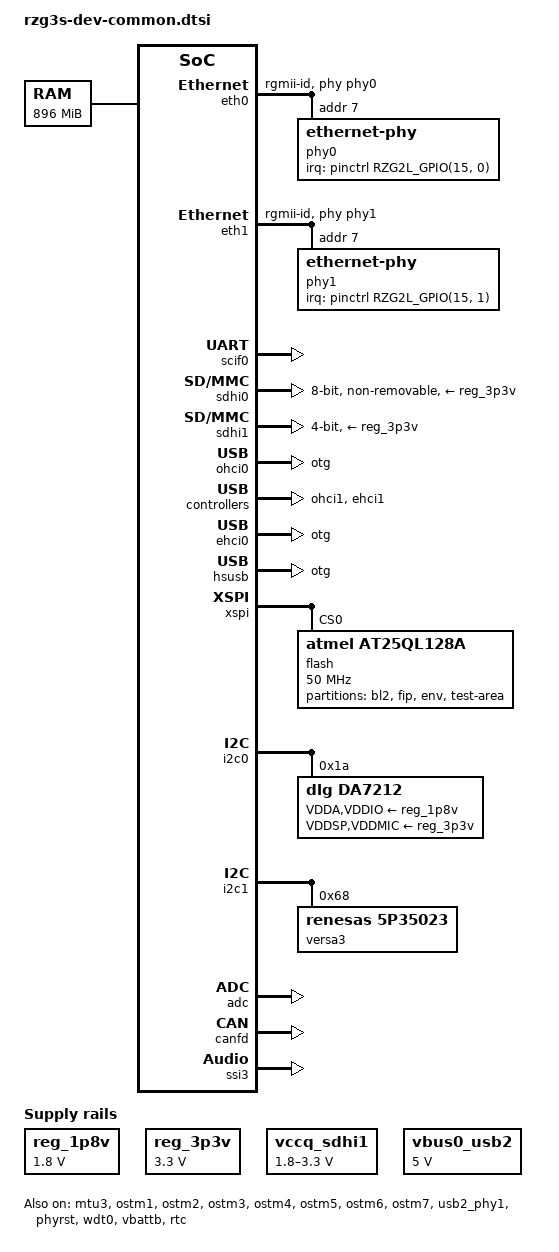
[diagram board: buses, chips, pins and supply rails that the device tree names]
// SPDX-License-Identifier: (GPL-2.0-only OR BSD-2-Clause)
/*
 * Common Devicetree reference for RZ/G3S Development board.
 *
 * Copyright (C) 2023 Renesas Electronics Corp.
 */

#include <dt-bindings/gpio/gpio.h>
#include <dt-bindings/pinctrl/rzg2l-pinctrl.h>

/*
 * SSI-DA7212
 *
 * These commands are required when Playback/Capture
 *
 *	amixer -q cset name='Aux Switch' on
 *	amixer -q cset name='Mixin Left Aux Left Switch' on
 *	amixer -q cset name='Mixin Right Aux Right Switch' on
 *	amixer -q cset name='ADC Switch' on
 *	amixer -q cset name='Mixout Right Mixin Right Switch' off
 *	amixer -q cset name='Mixout Left Mixin Left Switch' off
 *	amixer -q cset name='Headphone Volume' 70%
 *	amixer -q cset name='Headphone Switch' on
 *	amixer -q cset name='Mixout Left DAC Left Switch' on
 *	amixer -q cset name='Mixout Right DAC Right Switch' on
 *	amixer -q cset name='DAC Left Source MUX' 'DAI Input Left'
 *	amixer -q cset name='DAC Right Source MUX' 'DAI Input Right'
 *	amixer -q sset 'Mic 1 Amp Source MUX' 'MIC_P'
 *	amixer -q sset 'Mic 2 Amp Source MUX' 'MIC_P'
 *	amixer -q sset 'Mixin Left Mic 1' on
 *	amixer -q sset 'Mixin Right Mic 2' on
 *	amixer -q sset 'Mic 1' 90% on
 *	amixer -q sset 'Mic 2' 90% on
 *	amixer -q sset 'Lineout' 80% on
 *	amixer -q set "Headphone" 100% on
 */

/ {
	aliases {
		serial0 = &scif0;
		i2c0 = &i2c0;
		i2c1 = &i2c1;
		ethernet0 = &eth0;
		ethernet1 = &eth1;
		mmc0 = &sdhi0;
		mmc1 = &sdhi1;
	};

	memory@48000000 {
		device_type = "memory";
		reg = <0x0 0x48000000 0x0 0x38000000>;
	};

	chosen {
		bootargs = "ignore_loglevel";
		stdout-path = "serial0:115200n8";
	};

	reg_1p8v: regulator0 {
		compatible = "regulator-fixed";
		regulator-name = "fixed-1.8V";
		regulator-min-microvolt = <1800000>;
		regulator-max-microvolt = <1800000>;
		regulator-boot-on;
		regulator-always-on;
	};

	reg_3p3v: regulator1 {
		compatible = "regulator-fixed";
		regulator-name = "fixed-3.3V";
		regulator-min-microvolt = <3300000>;
		regulator-max-microvolt = <3300000>;
		regulator-boot-on;
		regulator-always-on;
	};

	vccq_sdhi1: regulator-vccq-sdhi1 {
		compatible = "regulator-gpio";
		regulator-name = "SDHI1 VccQ";

		regulator-min-microvolt = <1800000>;
		regulator-max-microvolt = <3300000>;

		gpios = <&pinctrl RZG2L_GPIO(13, 0) GPIO_ACTIVE_HIGH>;
		gpios-states = <1>;
		states = <3300000 1>, <1800000 0>;
	};

	vbus0_usb2: regulator-vbus0-usb2 {
		compatible = "regulator-fixed";

		regulator-name = "USB20_VBUS0";
		regulator-min-microvolt = <5000000>;
		regulator-max-microvolt = <5000000>;
	};

	x3_clk: x3-clock {
		compatible = "fixed-clock";
		#clock-cells = <0>;
		clock-frequency = <24000000>;
	};

	codec_test0: codec_test {
		compatible = "linux,snd-soc-dummy";
		#sound-dai-cells = <0>;
	};

	snd_rzg2l: sound {
		compatible = "simple-audio-card";
		simple-audio-card,name = "snd_rzg3s";

		ssi_link: simple-audio-card,dai-link@0 {
			format = "i2s";
			bitclock-master = <&cpu_dai0>;
			frame-master = <&cpu_dai0>;
			mclk-fs = <256>;

			cpu_dai0: cpu {
				sound-dai = <&ssi3>;
			};

			codec {
				sound-dai = <&da7212>;
				clocks = <&versa3 4>;
			};
		};

#if COMMON_PINS_SEL == SPDIF_PINS_SEL
		spdif_link: simple-audio-card,dai-link@1 {
			bitclock-master = <&cpu_dai1>;
			frame-master = <&cpu_dai1>;

			cpu_dai1: cpu {
				sound-dai = <&spdif>;
			};

			codec {
				sound-dai = <&codec_test0>;
			};
		};
#endif
	};
};

&audio_clk1 {
	clock-frequency = <11289600>;
};

&extal_clk {
	clock-frequency = <24000000>;
};

&eth0 {
	pinctrl-0 = <&eth0_pins>;
	pinctrl-names = "default";
	phy-handle = <&phy0>;
	phy-mode = "rgmii-id";
	status = "okay";

	phy0: ethernet-phy@7 {
		reg = <7>;
		rxc-skew-psec = <0>;
		txc-skew-psec = <0>;
		rxdv-skew-psec = <0>;
		txdv-skew-psec = <0>;
		rxd0-skew-psec = <0>;
		rxd1-skew-psec = <0>;
		rxd2-skew-psec = <0>;
		rxd3-skew-psec = <0>;
		txd0-skew-psec = <0>;
		txd1-skew-psec = <0>;
		txd2-skew-psec = <0>;
		txd3-skew-psec = <0>;

		interrupt-parent = <&pinctrl>;
		interrupts = <RZG2L_GPIO(15, 0) IRQ_TYPE_LEVEL_LOW>;
	};
};

&eth1 {
	pinctrl-0 = <&eth1_pins>;
	pinctrl-names = "default";
	phy-handle = <&phy1>;
	phy-mode = "rgmii-id";
	status = "okay";

	phy1: ethernet-phy@7 {
		reg = <7>;
		rxc-skew-psec = <0>;
		txc-skew-psec = <0>;
		rxdv-skew-psec = <0>;
		txdv-skew-psec = <0>;
		rxd0-skew-psec = <0>;
		rxd1-skew-psec = <0>;
		rxd2-skew-psec = <0>;
		rxd3-skew-psec = <0>;
		txd0-skew-psec = <0>;
		txd1-skew-psec = <0>;
		txd2-skew-psec = <0>;
		txd3-skew-psec = <0>;

		interrupt-parent = <&pinctrl>;
		interrupts = <RZG2L_GPIO(15, 1) IRQ_TYPE_LEVEL_LOW>;
	};
};

&scif0 {
	pinctrl-0 = <&scif0_pins>;
	pinctrl-names = "default";
	status = "okay";
};

&sdhi0 {
	pinctrl-0 = <&sdhi0_emmc_pins>;
	pinctrl-1 = <&sdhi0_emmc_pins>;
	pinctrl-names = "default", "state_uhs";

	vmmc-supply = <&reg_3p3v>;
	vqmmc-supply = <&reg_1p8v>;
	bus-width = <8>;
	mmc-hs200-1_8v;
	non-removable;
	fixed-emmc-driver-type = <1>;
	max-frequency = <125000000>;
	status = "okay";
};

&sdhi1 {
	pinctrl-0 = <&sdhi1_pins>;
	pinctrl-1 = <&sdhi1_pins_uhs>;
	pinctrl-names = "default", "state_uhs";

	vmmc-supply = <&reg_3p3v>;
	vqmmc-supply = <&vccq_sdhi1>;
	bus-width = <4>;

	sd-uhs-sdr50;
	sd-uhs-sdr104;
	max-frequency = <125000000>;
	status = "okay";
};

&mtu3 {
	status = "okay";
};

&ohci0 {
	dr_mode = "otg";
	status = "okay";
};

&ohci1 {
	status = "okay";
};

&ostm1 {
	status = "okay";
};

&ostm2 {
	status = "okay";
};

&ostm3 {
	status = "okay";
};

&ostm4 {
	status = "okay";
};

&ostm5 {
	status = "okay";
};

&ostm6 {
	status = "okay";
};

&ostm7 {
	status = "okay";
};

&ehci0 {
	dr_mode = "otg";
	status = "okay";
};

&ehci1 {
	status = "okay";
};

&hsusb {
	dr_mode = "otg";
	status = "okay";
};

&usb2_phy1 {
	pinctrl-0 = <&usb1_pins>;
	pinctrl-names = "default";

	status = "okay";
};

&phyrst {
	status = "okay";
};

&xspi {
	pinctrl-0 = <&xspi_pins>;
	pinctrl-names = "default";

	status = "okay";

	flash@0 {
		compatible = "atmel,at25ql128a", "jedec,spi-nor";
		reg = <0>;
		m25p,fast-read;
		spi-max-frequency = <50000000>;
		spi-tx-bus-width = <1>;
		spi-rx-bus-width = <1>;

		partitions {
			compatible = "fixed-partitions";
			#address-cells = <1>;
			#size-cells = <1>;

			partition@000000 {
				label = "bl2";
				reg = <0x00000000 0x0001D200>;
				read-only;
			};
			partition@01D200 {
				label = "fip";
				reg = <0x0001D200 0x001C2E00>;
				read-only;
			};
			partition@1E0000 {
				label = "env";
				reg = <0x001E0000 0x00020000>;
				read-only;
			};
			partition@200000 {
				label = "test-area";
				reg = <0x00200000 0x00E00000>;
			};
		};
	};
};

&wdt0 {
	status = "okay";
	timeout-sec = <60>;
};

&i2c0 {
	status = "okay";

	da7212: codec@1a {
		compatible = "dlg,da7212";

		#sound-dai-cells = <0>;
		#address-cells = <1>;
		#size-cells = <0>;

		reg = <0x1a>;

		clocks = <&versa3 4>;
		clock-names = "mclk";

		dlg,micbias1-lvl = <2500>;
		dlg,micbias2-lvl = <2500>;
		dlg,dmic-data-sel = "lrise_rfall";
		dlg,dmic-samplephase = "between_clkedge";
		dlg,dmic-clkrate = <3000000>;

		VDDA-supply = <&reg_1p8v>;
		VDDSP-supply = <&reg_3p3v>;
		VDDMIC-supply = <&reg_3p3v>;
		VDDIO-supply = <&reg_1p8v>;
	};
};

&i2c1 {
	status = "okay";

	versa3: versa3@68 {
		compatible = "renesas,5p35023";
		reg = <0x68>;
		#clock-cells = <1>;
		clocks = <&x3_clk>;
		clock-names = "x1";
		renesas,settings = [
		  80 00 11 05 40 08 cc 2e 06 7d 20 1a 5f 1e f2 27
		  00 34 af 4f 00 00 00 00 04 0c 1c 18 3f 30 90 c6
		  80 80 30 30 95
		];
		assigned-clocks = <&versa3 0>,
				   <&versa3 1>,
				   <&versa3 2>,
				   <&versa3 3>,
				   <&versa3 4>,
				   <&versa3 5>;
		assigned-clock-rates =	<100000000>, <100000000>,
					<25000000>, <11289600>,
					<12288000>, <24000000>;
		clock-divider-read-only = <1>, <1>, <1>, <1>, <1>;
		clock-flags = <2176>, <2176>, <2176>, <2176>, <2052>, <2048>;
	};
};

&adc {
	pinctrl-0 = <&adc_pins>;
	pinctrl-names = "default";
	status = "okay";
};

&canfd {
	pinctrl-0 = <&canfd0_pins &canfd1_pins>;
	pinctrl-names = "default";
	status = "okay";
	channel0 {
		status = "okay";
	};
	channel1 {
		status = "okay";
	};
};

&vbattb {
	status = "okay";
};

&rtc{
	status = "okay";
};

&ssi3 {
	pinctrl-0 = <&ssi3_pins>;
	pinctrl-names = "default";

	status = "okay";
};
